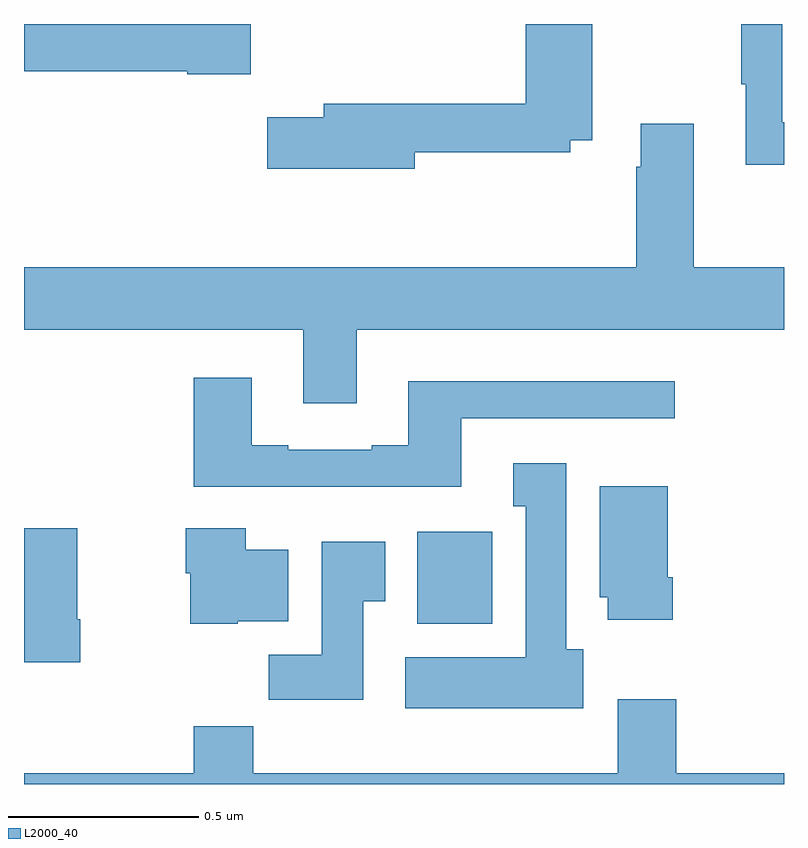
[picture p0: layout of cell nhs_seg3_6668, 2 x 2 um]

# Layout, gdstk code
import gdstk
lib = gdstk.Library(unit=1e-6, precision=1e-09)
def R(c, l, rs):  # rectangles x0, y0, x1, y1
    for r in rs: c.add(gdstk.rectangle(r[:2], r[2:], *l))
def P(c, l, *ps):  # polygons
    for p in ps: c.add(gdstk.Polygon(p, *l))
L2000_40 = (2000, 40)

nhs_seg3_6668 = lib.new_cell('nhs_seg3_6668')
R(nhs_seg3_6668, L2000_40, [(195.035,686.822,195.232,687.064)])
P(nhs_seg3_6668, L2000_40, [(194.597,688.4),(194,688.4),(194,688.276),(194.43,688.276),(194.43,688.268),(194.597,688.268)],
  [(196,688.142),(195.996,688.142),(195.996,688.4),(195.888,688.4),(195.888,688.241),(195.899,688.241),(195.899,688.029),(196,688.029)],
  [(195.028,688.062),(195.438,688.062),(195.438,688.094),(195.495,688.094),(195.495,688.4),(195.32,688.4),(195.32,688.19),(194.789,688.19),(194.789,688.154),(194.64,688.154),(194.64,688.019),(195.028,688.019)],
  [(194.875,687.596),(196,687.596),(196,687.76),(195.763,687.76),(195.763,688.138),(195.623,688.138),(195.623,688.025),(195.611,688.025),(195.611,687.76),(194,687.76),(194,687.596),(194.735,687.596),(194.735,687.402),(194.875,687.402)],
  [(195.151,687.363),(195.712,687.363),(195.712,687.46),(195.011,687.46),(195.011,687.292),(194.915,687.292),(194.915,687.279),(194.695,687.279),(194.695,687.292),(194.599,687.292),(194.599,687.469),(194.447,687.469),(194.447,687.182),(195.151,687.182)],
  [(195.472,686.754),(195.427,686.754),(195.427,687.244),(195.287,687.244),(195.287,687.131),(195.32,687.131),(195.32,686.734),(195.003,686.734),(195.003,686.6),(195.472,686.6)],
  [(195.707,686.944),(195.694,686.944),(195.694,687.184),(195.515,687.184),(195.515,686.892),(195.536,686.892),(195.536,686.832),(195.707,686.832)],
  [(194.148,686.833),(194.14,686.833),(194.14,687.073),(194,687.073),(194,686.721),(194.148,686.721)],
  [(194.562,686.828),(194.695,686.828),(194.695,687.016),(194.584,687.016),(194.584,687.073),(194.426,687.073),(194.426,686.955),(194.437,686.955),(194.437,686.822),(194.562,686.822)],
  [(194.893,686.881),(194.95,686.881),(194.95,687.037),(194.783,687.037),(194.783,686.74),(194.644,686.74),(194.644,686.622),(194.893,686.622)],
  [(196,686.428),(195.716,686.428),(195.716,686.623),(195.563,686.623),(195.563,686.428),(194.603,686.428),(194.603,686.552),(194.447,686.552),(194.447,686.428),(194,686.428),(194,686.4),(196,686.4)])

lib.write_gds('nhs_seg3_6668.gds')
